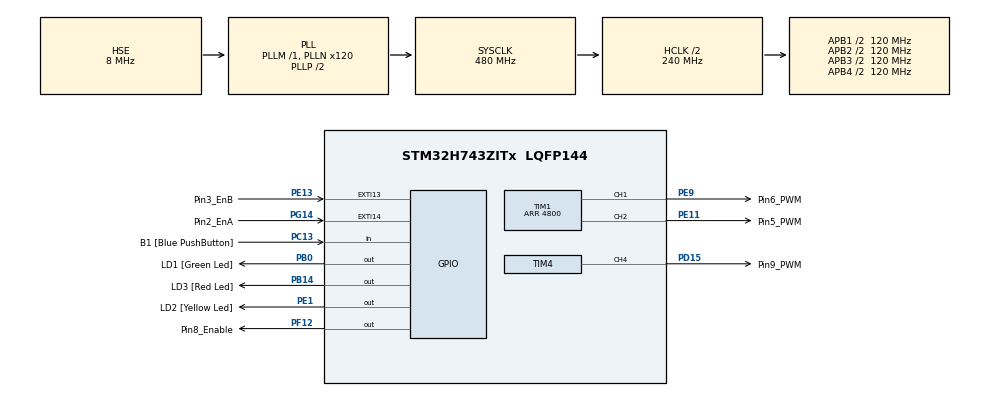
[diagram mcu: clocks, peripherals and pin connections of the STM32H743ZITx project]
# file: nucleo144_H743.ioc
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Mcu.Family=STM32H7
Mcu.Name=STM32H743ZITx
Mcu.Package=LQFP144
NVIC.EXTI15_10_IRQn=true\:0\:0\:false\:false\:true\:true\:true
NVIC.PriorityGroup=NVIC_PRIORITYGROUP_4
NVIC.TIM1_BRK_IRQn=true\:0\:0\:false\:false\:true\:true\:true
NVIC.TIM1_UP_IRQn=true\:0\:0\:false\:false\:true\:true\:true
NVIC.TIM4_IRQn=true\:0\:0\:false\:false\:true\:true\:true
PB0.GPIO_Label=LD1 [Green Led]
PB0.Signal=GPIO_Output
PB14.GPIO_Label=LD3 [Red Led]
PB14.Signal=GPIO_Output
PC13.GPIO_Label=B1 [Blue PushButton]
PC13.Signal=GPIO_Input
PC14-OSC32_IN\ (OSC32_IN).Mode=LSE-External-Oscillator
PC14-OSC32_IN\ (OSC32_IN).Signal=RCC_OSC32_IN
PC15-OSC32_OUT\ (OSC32_OUT).Mode=LSE-External-Oscillator
PC15-OSC32_OUT\ (OSC32_OUT).Signal=RCC_OSC32_OUT
PD15.GPIO_Label=Pin9_PWM
PD15.Signal=S_TIM4_CH4
PE1.GPIO_Label=LD2 [Yellow Led]
PE1.Signal=GPIO_Output
PE11.GPIO_Label=Pin5_PWM
PE11.Signal=S_TIM1_CH2
PE13.GPIO_Label=Pin3_EnB
PE13.GPIO_ModeDefaultEXTI=GPIO_MODE_IT_RISING_FALLING
PE13.Signal=GPXTI13
PE9.GPIO_Label=Pin6_PWM
PE9.Signal=S_TIM1_CH1
PF12.GPIO_Label=Pin8_Enable
PF12.Signal=GPIO_Output
PG14.GPIO_Label=Pin2_EnA
PG14.GPIO_ModeDefaultEXTI=GPIO_MODE_IT_RISING_FALLING
PG14.Signal=GPXTI14
PH0-OSC_IN\ (PH0).Mode=HSE-External-Oscillator
PH0-OSC_IN\ (PH0).Signal=RCC_OSC_IN
PH1-OSC_OUT\ (PH1).Mode=HSE-External-Oscillator
PH1-OSC_OUT\ (PH1).Signal=RCC_OSC_OUT
ProjectManager.HeapSize=0x200
ProjectManager.StackSize=0x400
ProjectManager.TargetToolchain=STM32CubeIDE
RCC.ADCFreq_Value=16125000
RCC.APB1Freq_Value=120000000
RCC.APB2Freq_Value=120000000
RCC.APB3Freq_Value=120000000
RCC.APB4Freq_Value=120000000
RCC.CortexFreq_Value=480000000
RCC.D1PPRE=RCC_APB3_DIV2
RCC.D2PPRE1=RCC_APB1_DIV2
RCC.D2PPRE2=RCC_APB2_DIV2
RCC.D3PPRE=RCC_APB4_DIV2
RCC.DIVM1=1
RCC.DIVN1=120
RCC.DIVQ1=20
RCC.HCLKFreq_Value=240000000
RCC.HPRE=RCC_HCLK_DIV2
RCC.HSE_VALUE=8000000
RCC.PLL2FRACN=0
RCC.PLL3FRACN=0
RCC.PLLFRACN=0
RCC.PLLSourceVirtual=RCC_PLLSOURCE_HSE
RCC.SYSCLKFreq_VALUE=480000000
RCC.SYSCLKSource=RCC_SYSCLKSOURCE_PLLCLK
RCC.USBFreq_Value=48000000
SH.S_TIM1_CH1.0=TIM1_CH1,PWM Generation1 CH1
SH.S_TIM1_CH2.0=TIM1_CH2,PWM Generation2 CH2
SH.S_TIM4_CH4.0=TIM4_CH4,PWM Generation4 CH4
TIM1.AutoReloadPreload=TIM_AUTORELOAD_PRELOAD_DISABLE
TIM1.Channel-PWM\ Generation1\ CH1=TIM_CHANNEL_1
TIM1.Channel-PWM\ Generation2\ CH2=TIM_CHANNEL_2
TIM1.CounterMode=TIM_COUNTERMODE_CENTERALIGNED3
TIM1.OCMode_PWM-PWM\ Generation1\ CH1=TIM_OCMODE_PWM1
TIM1.OCMode_PWM-PWM\ Generation2\ CH2=TIM_OCMODE_PWM1
TIM1.Period=4800
TIM1.Pulse-PWM\ Generation1\ CH1=2400
TIM1.Pulse-PWM\ Generation2\ CH2=2400
TIM4.AutoReloadPreload=TIM_AUTORELOAD_PRELOAD_DISABLE
TIM4.Channel-PWM\ Generation4\ CH4=TIM_CHANNEL_4
TIM4.CounterMode=TIM_COUNTERMODE_CENTERALIGNED3
TIM4.Period=4800
TIM4.Pulse-PWM\ Generation4\ CH4=2400
VP_TIM1_VS_ClockSourceINT.Mode=Internal
VP_TIM4_VS_ClockSourceINT.Mode=Internal
board=NUCLEO-H743ZI2

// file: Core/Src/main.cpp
/* USER CODE BEGIN Header */
/**
  ******************************************************************************
  * @file           : main.c
  * @brief          : Main program body
  ******************************************************************************
  * @attention
  *
  * <h2><center>&copy; Copyright (c) 2021 STMicroelectronics.
  * All rights reserved.</center></h2>
  *
  * This software component is licensed by ST under BSD 3-Clause license,
  * the "License"; You may not use this file except in compliance with the
  * License. You may obtain a copy of the License at:
  *                        opensource.org/licenses/BSD-3-Clause
  *
  ******************************************************************************
  */
/* USER CODE END Header */
#include "main.h"
#include "SimpleFOC.h"

/* USER CODE BEGIN PD */
// default pwm parameters
#define _PWM_RESOLUTION 12 // 12bit
#define _PWM_RANGE 4095.0// 2^12 -1 = 4095
/* USER CODE END PD */

TIM_HandleTypeDef htim1;
TIM_HandleTypeDef htim4;

/* USER CODE BEGIN PV */
// Simple FOC setup:
BLDCMotor motor = BLDCMotor(15); //pole pair count on motor
BLDCDriver3PWM driver = BLDCDriver3PWM(9,5,6,8); //these pins are currently hard coded
//encoder instance
Encoder encoder = Encoder(2, 3, 800); //these pins, and values are actually hard coded
float start_angle = 0.0; //[rad]
//float vane_pos_inc[] = {0, 0.1, 1.571, 0.556, 3.142, 0.1, 4.712, 0.1};
float vane_pos_inc[] = { 0, 0.010, 0.010, 0.010, 0.010, 0.011, 0.011, 0.011, 0.011,
		0.012, 0.012, 0.012, 0.012, 0.013,0.013, 0.013, 0.013, 0.013, 0.013,
		0.014, 0.014, 0.014, 0.014, 0.014, 0.014, 0.014, 0.015, 0.014, 0.015,
		0.014, 0.015, 0.015, 0.015, 0.015, 0.015, 0.015, 0.015, 0.015, 0.015,
		0.015, 0.015, 0.016, 0.015, 0.015, 0.016, 0.015, 0.015, 0.016, 0.015,
		0.016, 0.015, 0.016, 0.015, 0.015, 0.016, 0.015, 0.016, 0.015, 0.016,
		0.015, 0.016, 0.015, 0.016, 0.015, 0.015, 0.012, 0.020, 0.010, 0.020,
		0.020, 0.010, 0.020, 0.010, 0.020, 0.010, 0.020, 0.010, 0.020, 0.010,
		0.020, 0.010, 0.020, 0.010, 0.020, 0.010, 0.020, 0.010, 0.020, 0.010,
		0.020, 0.010, 0.020, 0.010, 0.020, 0.010, 0.020, 0.010, 0.010, 0.020,
		0.010, 0.020, 0.010, 0.020, 0.010, 0.010, 0.020, 0.010, 0.020, 0.010,
		0.020, 0.010, 0.010, 0.020, 0.010, 0.010, 0.020, 0.010, 0.020, 0.010,
		0.010, 0.020, 0.010, 0.010, 0.020, 0.010, 0.010, 0.020, 0.010, 0.010,
		0.010, 0.020, 0.010, 0.010, 0.020, 0.010, 0.010, 0.010, 0.020, 0.010,
		0.010, 0.010, 0.010, 0.020, 0.010, 0.010, 0.010, 0.010, 0.010, 0.020,
		0.010, 0.010, 0.010, 0.010, 0.010, 0.010, 0.010, 0.010, 0.010, 0.010,
		0.020, 0.010, 0.010, 0.010, 0.010, 0.010, 0.010, 0.000, 0.010, 0.010,
		0.010, 0.000, 0.010, 0.010, 0.010, 0.010, 0.010, 0.000, 0.010, 0.010,
		0.000, 0.010, 0.010, 0.000, 0.010, 0.000, 0.010, 0.000, 0.010, 0.000,
		0.010, 0.000, 0.010, 0.000, 0.010, 0.000, 0.010, 0.000, 0.010, 0.000,
		0.000, 0.010, 0.000, 0.000, 0.010, 0.000, 0.010, 0.000, 0.000, 0.010,
		0.000, 0.000, 0.010, 0.000, 0.000, 0.010, 0.000, 0.000, 0.010, 0.000,
		0.000, 0.010, 0.000, 0.000, 0.010, 0.000, 0.000, 0.010, 0.000, 0.000,
		0.010, 0.000, 0.000, 0.010, 0.000, 0.000, 0.010, 0.000, 0.000, 0.010,
		0.000, 0.010, 0.000, 0.000, 0.010, 0.000, 0.000, 0.010, 0.000, 0.000,
		0.010, 0.000, 0.010, 0.000, 0.000, 0.010, 0.000, 0.000, 0.010, 0.000,
		0.010, 0.000, 0.000, 0.010, 0.000, 0.010, 0.000, 0.010, 0.000, 0.000,
		0.010, 0.000, 0.010, 0.000, 0.010, 0.000, 0.010, 0.000, 0.010, 0.000,
		0.010, 0.000, 0.010, 0.000, 0.010, 0.000, 0.010, 0.000, 0.010, 0.000,
		0.010, 0.000, 0.010, 0.000, 0.010, 0.000, 0.010, 0.010, 0.000, 0.010,
		0.000, 0.010, 0.010, 0.000, 0.010, 0.010, 0.000, 0.010, 0.000, 0.010,
		0.010, 0.010, 0.000, 0.010, 0.010, 0.000, 0.010, 0.010, 0.010, 0.000,
		0.010, 0.010, 0.010, 0.000, 0.010, 0.010, 0.010 };
float vane_pos[] = {0, 0.5, 0.2, 0.3, 0.5, 0, 1, 0.5};

/* USER CODE END PV */

void SystemClock_Config(void);
static void MX_GPIO_Init(void);
static void MX_TIM1_Init(void);
static void MX_TIM4_Init(void);

/* USER CODE BEGIN 0 */
// function setting the pwm duty cycle to the hardware
// - BLDC motor - 3PWM setting
//- hardware specific
void _writeDutyCycle3PWM(float dc_a,  float dc_b, float dc_c, int pinA, int pinB, int pinC){
  // transform duty cycle from [0,1] to [0,4095]
	//TIM1->CCR1 = (int)(dc_a * _PWM_RANGE);
//	TIM1->CCR2 = (int)(dc_b * _PWM_RANGE);
//	TIM4->CCR4 = (int)(dc_c * _PWM_RANGE);

	int pwm_range = htim1.Instance->ARR;
	__HAL_TIM_SET_COMPARE(&htim1, TIM_CHANNEL_1, dc_a * pwm_range);
	__HAL_TIM_SET_COMPARE(&htim1, TIM_CHANNEL_2, dc_b * pwm_range);
	pwm_range = htim4.Instance->ARR;
	__HAL_TIM_SET_COMPARE(&htim4, TIM_CHANNEL_4, dc_c * pwm_range);
}

/* USER CODE END 0 */

int main(void)
{

  /* MCU Configuration--------------------------------------------------------*/

  /* Reset of all peripherals, Initializes the Flash interface and the Systick. */
   HAL_Init();

  /* Configure the system clock */
  SystemClock_Config();

  /* Initialize all configured peripherals */
  MX_GPIO_Init();
  MX_TIM1_Init();
  MX_TIM4_Init();
  /* USER CODE BEGIN 2 */

//  HAL_TIM_Base_Start_IT(&htim1);
//  HAL_TIM_Base_Start_IT(&htim4);

  HAL_TIM_Base_Start(&htim1);
  HAL_TIM_Base_Start(&htim4);

  HAL_TIM_PWM_Start(&htim1, TIM_CHANNEL_1);
  HAL_TIM_PWM_Start(&htim1, TIM_CHANNEL_2);
  HAL_TIM_PWM_Start(&htim4, TIM_CHANNEL_4);

  /* USER CODE END 2 */

  /* USER CODE BEGIN WHILE */
  //SimpleFOC initialisations:

//  //open loop velocity control
//  driver.voltage_power_supply = 24; //power supply voltage [V]
//  driver.init();
//  motor.linkDriver(&driver); //link the motor and the driver
//  motor.voltage_limit = 3;
//  motor.velocity_limit = 1;
//  motor.controller = ControlType::velocity_openloop; //set motion control loop to be used
//  motor.init(); //initialise motor

//  //closed loop velocity control:
//  encoder.init(); //initialise encoder sensor hardware
//  motor.linkSensor(&encoder); //link the motor to the sensor
//  driver.voltage_power_supply = 24;
//  driver.init();
//  //link the motor and the driver
//  motor.linkDriver(&driver);
//  //aligning voltage
//  motor.voltage_sensor_align = 3;
//  //index search velocity [rad/s]
//  motor.velocity_index_search = 3;
//  //set motion control loop to be used:
//  motor.controller = ControlType::velocity;
//  //velocity PI controller parameters
//  motor.PID_velocity.P = 0.2;
//  motor.PID_velocity.I = 20;
//  motor.PID_velocity.D = 0;
//  motor.voltage_limit = 6; //default: voltage_power_supply
//  //jerk control using voltage ramp
//  //default value is 300 volts per sec - 0.3V per millisecond
//  motor.PID_velocity.output_ramp = 1000;
//  //velocity low pass filtering time constant
//  motor.LPF_velocity.Tf = 0.01;
//  //initialise motor
//  motor.init();
//  //align sensor and start FOC
//  motor.initFOC();

  //closed loop position control:
  encoder.init();
  motor.linkSensor(&encoder);
  driver.voltage_power_supply = 24;
  driver.init();
  motor.linkDriver(&driver);
  motor.voltage_sensor_align = 3; //[V]
  motor.velocity_index_search = 3; //[rad/s]
  motor.controller = ControlType::angle;

  motor.PID_velocity.P = 0.2;
  motor.PID_velocity.I = 20;
  motor.PID_velocity.D = 0;
  motor.voltage_limit = 10;
  motor.PID_velocity.output_ramp = 1000; //[V/s]

  motor.LPF_velocity.Tf = 0.01;
  motor.P_angle.P = 20;
  motor.velocity_limit = 8;

  motor.init();
  motor.initFOC();

  _delay(1000);

  int idx = 0;
  int angle_cnt = 0;
  float target_angle = 0.9;
  while (1)
  {
    /* USER CODE END WHILE */

    /* USER CODE BEGIN 3 */
//	  //open loop velocity:
//	  motor.move(1);

//	  //closed loop velocity control
//	  motor.loopFOC();
//	  idx += 1;
//	  if ((idx % 1024) == 0) {
//		  motor.move(0.5);
//		  HAL_GPIO_TogglePin(LD1_GPIO_Port, LD1_Pin);
//	  }
//	  if (idx >= 65536) {
//		  idx = 1;
//	  }

	  //closed loop position control
	  motor.loopFOC();
	  //motor.move(target_angle);
	  idx++;
	  if (idx % 500 == 0) {
		  target_angle += vane_pos_inc[angle_cnt];
		//  target_angle = vane_pos[angle_cnt];
		  angle_cnt++;
		  angle_cnt = (angle_cnt%327);
//		  if (angle_cnt >= 8) {
//			  //angle_cnt = 0;
//			  _delay(10000);
//		  }
		//  target_angle -= 5;
		  HAL_GPIO_TogglePin(LD1_GPIO_Port, LD1_Pin);
	  }
	  if (idx % 64 == 0) {
		  motor.move(target_angle);
	  }
  }
  /* USER CODE END 3 */
}

void SystemClock_Config(void)
{
  RCC_OscInitTypeDef RCC_OscInitStruct = {0};
  RCC_ClkInitTypeDef RCC_ClkInitStruct = {0};

  /** Supply configuration update enable
  */
  HAL_PWREx_ConfigSupply(PWR_LDO_SUPPLY);
  /** Configure the main internal regulator output voltage
  */
  __HAL_PWR_VOLTAGESCALING_CONFIG(PWR_REGULATOR_VOLTAGE_SCALE0);

  while(!__HAL_PWR_GET_FLAG(PWR_FLAG_VOSRDY)) {}
  /** Initializes the RCC Oscillators according to the specified parameters
  * in the RCC_OscInitTypeDef structure.
  */
  RCC_OscInitStruct.OscillatorType = RCC_OSCILLATORTYPE_HSE;
  RCC_OscInitStruct.HSEState = RCC_HSE_ON;
  RCC_OscInitStruct.PLL.PLLState = RCC_PLL_ON;
  RCC_OscInitStruct.PLL.PLLSource = RCC_PLLSOURCE_HSE;
  RCC_OscInitStruct.PLL.PLLM = 1;
  RCC_OscInitStruct.PLL.PLLN = 120;
  RCC_OscInitStruct.PLL.PLLP = 2;
  RCC_OscInitStruct.PLL.PLLQ = 20;
  RCC_OscInitStruct.PLL.PLLR = 2;
  RCC_OscInitStruct.PLL.PLLRGE = RCC_PLL1VCIRANGE_3;
  RCC_OscInitStruct.PLL.PLLVCOSEL = RCC_PLL1VCOWIDE;
  RCC_OscInitStruct.PLL.PLLFRACN = 0;
  if (HAL_RCC_OscConfig(&RCC_OscInitStruct) != HAL_OK)
  {
    Error_Handler();
  }
  /** Initializes the CPU, AHB and APB buses clocks
  */
  RCC_ClkInitStruct.ClockType = RCC_CLOCKTYPE_HCLK|RCC_CLOCKTYPE_SYSCLK
                              |RCC_CLOCKTYPE_PCLK1|RCC_CLOCKTYPE_PCLK2
                              |RCC_CLOCKTYPE_D3PCLK1|RCC_CLOCKTYPE_D1PCLK1;
  RCC_ClkInitStruct.SYSCLKSource = RCC_SYSCLKSOURCE_PLLCLK;
  RCC_ClkInitStruct.SYSCLKDivider = RCC_SYSCLK_DIV1;
  RCC_ClkInitStruct.AHBCLKDivider = RCC_HCLK_DIV2;
  RCC_ClkInitStruct.APB3CLKDivider = RCC_APB3_DIV2;
  RCC_ClkInitStruct.APB1CLKDivider = RCC_APB1_DIV2;
  RCC_ClkInitStruct.APB2CLKDivider = RCC_APB2_DIV2;
  RCC_ClkInitStruct.APB4CLKDivider = RCC_APB4_DIV2;

  if (HAL_RCC_ClockConfig(&RCC_ClkInitStruct, FLASH_LATENCY_4) != HAL_OK)
  {
    Error_Handler();
  }
}

static void MX_TIM1_Init(void)
{

  TIM_ClockConfigTypeDef sClockSourceConfig = {0};
  TIM_MasterConfigTypeDef sMasterConfig = {0};
  TIM_OC_InitTypeDef sConfigOC = {0};
  TIM_BreakDeadTimeConfigTypeDef sBreakDeadTimeConfig = {0};

  htim1.Instance = TIM1;
  htim1.Init.Prescaler = 0;
  htim1.Init.CounterMode = TIM_COUNTERMODE_CENTERALIGNED3;
  htim1.Init.Period = 4800;
  htim1.Init.ClockDivision = TIM_CLOCKDIVISION_DIV1;
  htim1.Init.RepetitionCounter = 0;
  htim1.Init.AutoReloadPreload = TIM_AUTORELOAD_PRELOAD_DISABLE;
  if (HAL_TIM_Base_Init(&htim1) != HAL_OK)
  {
    Error_Handler();
  }
  sClockSourceConfig.ClockSource = TIM_CLOCKSOURCE_INTERNAL;
  if (HAL_TIM_ConfigClockSource(&htim1, &sClockSourceConfig) != HAL_OK)
  {
    Error_Handler();
  }
  if (HAL_TIM_PWM_Init(&htim1) != HAL_OK)
  {
    Error_Handler();
  }
  sMasterConfig.MasterOutputTrigger = TIM_TRGO_RESET;
  sMasterConfig.MasterOutputTrigger2 = TIM_TRGO2_RESET;
  sMasterConfig.MasterSlaveMode = TIM_MASTERSLAVEMODE_DISABLE;
  if (HAL_TIMEx_MasterConfigSynchronization(&htim1, &sMasterConfig) != HAL_OK)
  {
    Error_Handler();
  }
  sConfigOC.OCMode = TIM_OCMODE_PWM1;
  sConfigOC.Pulse = 0;
  sConfigOC.OCPolarity = TIM_OCPOLARITY_HIGH;
  sConfigOC.OCNPolarity = TIM_OCNPOLARITY_HIGH;
  sConfigOC.OCFastMode = TIM_OCFAST_DISABLE;
  sConfigOC.OCIdleState = TIM_OCIDLESTATE_RESET;
  sConfigOC.OCNIdleState = TIM_OCNIDLESTATE_RESET;
  if (HAL_TIM_PWM_ConfigChannel(&htim1, &sConfigOC, TIM_CHANNEL_1) != HAL_OK)
  {
    Error_Handler();
  }
  if (HAL_TIM_PWM_ConfigChannel(&htim1, &sConfigOC, TIM_CHANNEL_2) != HAL_OK)
  {
    Error_Handler();
  }
  sBreakDeadTimeConfig.OffStateRunMode = TIM_OSSR_DISABLE;
  sBreakDeadTimeConfig.OffStateIDLEMode = TIM_OSSI_DISABLE;
  sBreakDeadTimeConfig.LockLevel = TIM_LOCKLEVEL_OFF;
  sBreakDeadTimeConfig.DeadTime = 0;
  sBreakDeadTimeConfig.BreakState = TIM_BREAK_DISABLE;
  sBreakDeadTimeConfig.BreakPolarity = TIM_BREAKPOLARITY_HIGH;
  sBreakDeadTimeConfig.BreakFilter = 0;
  sBreakDeadTimeConfig.Break2State = TIM_BREAK2_DISABLE;
  sBreakDeadTimeConfig.Break2Polarity = TIM_BREAK2POLARITY_HIGH;
  sBreakDeadTimeConfig.Break2Filter = 0;
  sBreakDeadTimeConfig.AutomaticOutput = TIM_AUTOMATICOUTPUT_DISABLE;
  if (HAL_TIMEx_ConfigBreakDeadTime(&htim1, &sBreakDeadTimeConfig) != HAL_OK)
  {
    Error_Handler();
  }
  HAL_TIM_MspPostInit(&htim1);

}

static void MX_TIM4_Init(void)
{

  TIM_ClockConfigTypeDef sClockSourceConfig = {0};
  TIM_MasterConfigTypeDef sMasterConfig = {0};
  TIM_OC_InitTypeDef sConfigOC = {0};

  htim4.Instance = TIM4;
  htim4.Init.Prescaler = 0;
  htim4.Init.CounterMode = TIM_COUNTERMODE_CENTERALIGNED3;
  htim4.Init.Period = 4800;
  htim4.Init.ClockDivision = TIM_CLOCKDIVISION_DIV1;
  htim4.Init.AutoReloadPreload = TIM_AUTORELOAD_PRELOAD_DISABLE;
  if (HAL_TIM_Base_Init(&htim4) != HAL_OK)
  {
    Error_Handler();
  }
  sClockSourceConfig.ClockSource = TIM_CLOCKSOURCE_INTERNAL;
  if (HAL_TIM_ConfigClockSource(&htim4, &sClockSourceConfig) != HAL_OK)
  {
    Error_Handler();
  }
  if (HAL_TIM_PWM_Init(&htim4) != HAL_OK)
  {
    Error_Handler();
  }
  sMasterConfig.MasterOutputTrigger = TIM_TRGO_RESET;
  sMasterConfig.MasterSlaveMode = TIM_MASTERSLAVEMODE_DISABLE;
  if (HAL_TIMEx_MasterConfigSynchronization(&htim4, &sMasterConfig) != HAL_OK)
  {
    Error_Handler();
  }
  sConfigOC.OCMode = TIM_OCMODE_PWM1;
  sConfigOC.Pulse = 0;
  sConfigOC.OCPolarity = TIM_OCPOLARITY_HIGH;
  sConfigOC.OCFastMode = TIM_OCFAST_DISABLE;
  if (HAL_TIM_PWM_ConfigChannel(&htim4, &sConfigOC, TIM_CHANNEL_4) != HAL_OK)
  {
    Error_Handler();
  }
  HAL_TIM_MspPostInit(&htim4);

}

static void MX_GPIO_Init(void)
{
  GPIO_InitTypeDef GPIO_InitStruct = {0};

  /* GPIO Ports Clock Enable */
  __HAL_RCC_GPIOC_CLK_ENABLE();
  __HAL_RCC_GPIOH_CLK_ENABLE();
  __HAL_RCC_GPIOB_CLK_ENABLE();
  __HAL_RCC_GPIOF_CLK_ENABLE();
  __HAL_RCC_GPIOG_CLK_ENABLE();
  __HAL_RCC_GPIOE_CLK_ENABLE();
  __HAL_RCC_GPIOD_CLK_ENABLE();

  /*Configure GPIO pin Output Level */
  HAL_GPIO_WritePin(GPIOB, LD1_Pin|LD3_Pin, GPIO_PIN_RESET);

  /*Configure GPIO pin Output Level */
  HAL_GPIO_WritePin(Pin8_Enable_GPIO_Port, Pin8_Enable_Pin, GPIO_PIN_RESET);

  /*Configure GPIO pin Output Level */
  HAL_GPIO_WritePin(LD2_GPIO_Port, LD2_Pin, GPIO_PIN_RESET);

  /*Configure GPIO pin : B1_Pin */
  GPIO_InitStruct.Pin = B1_Pin;
  GPIO_InitStruct.Mode = GPIO_MODE_INPUT;
  GPIO_InitStruct.Pull = GPIO_NOPULL;
  HAL_GPIO_Init(B1_GPIO_Port, &GPIO_InitStruct);

  /*Configure GPIO pins : LD1_Pin LD3_Pin */
  GPIO_InitStruct.Pin = LD1_Pin|LD3_Pin;
  GPIO_InitStruct.Mode = GPIO_MODE_OUTPUT_PP;
  GPIO_InitStruct.Pull = GPIO_NOPULL;
  GPIO_InitStruct.Speed = GPIO_SPEED_FREQ_LOW;
  HAL_GPIO_Init(GPIOB, &GPIO_InitStruct);

  /*Configure GPIO pin : Pin8_Enable_Pin */
  GPIO_InitStruct.Pin = Pin8_Enable_Pin;
  GPIO_InitStruct.Mode = GPIO_MODE_OUTPUT_PP;
  GPIO_InitStruct.Pull = GPIO_NOPULL;
  GPIO_InitStruct.Speed = GPIO_SPEED_FREQ_LOW;
  HAL_GPIO_Init(Pin8_Enable_GPIO_Port, &GPIO_InitStruct);

  /*Configure GPIO pin : Pin2_EnA_Pin */
  GPIO_InitStruct.Pin = Pin2_EnA_Pin;
  GPIO_InitStruct.Mode = GPIO_MODE_IT_RISING_FALLING;
  GPIO_InitStruct.Pull = GPIO_NOPULL;
  HAL_GPIO_Init(Pin2_EnA_GPIO_Port, &GPIO_InitStruct);

  /*Configure GPIO pin : Pin3_EnB_Pin */
  GPIO_InitStruct.Pin = Pin3_EnB_Pin;
  GPIO_InitStruct.Mode = GPIO_MODE_IT_RISING_FALLING;
  GPIO_InitStruct.Pull = GPIO_NOPULL;
  HAL_GPIO_Init(Pin3_EnB_GPIO_Port, &GPIO_InitStruct);

  /*Configure GPIO pin : LD2_Pin */
  GPIO_InitStruct.Pin = LD2_Pin;
  GPIO_InitStruct.Mode = GPIO_MODE_OUTPUT_PP;
  GPIO_InitStruct.Pull = GPIO_NOPULL;
  GPIO_InitStruct.Speed = GPIO_SPEED_FREQ_LOW;
  HAL_GPIO_Init(LD2_GPIO_Port, &GPIO_InitStruct);

  /* EXTI interrupt init*/
  HAL_NVIC_SetPriority(EXTI15_10_IRQn, 0, 0);
  HAL_NVIC_EnableIRQ(EXTI15_10_IRQn);

}

/* USER CODE BEGIN 4 */
void HAL_GPIO_EXTI_Callback(uint16_t GPIO_Pin) {
	if (GPIO_Pin == Pin2_EnA_Pin) {
		encoder.handleA();
	}
	if (GPIO_Pin == Pin3_EnB_Pin) {
		encoder.handleB();
	}
}

/* USER CODE END 4 */

void Error_Handler(void)
{
  __disable_irq();
  while (1)
  {
  }
}

/************************ (C) COPYRIGHT STMicroelectronics *****END OF FILE****/
